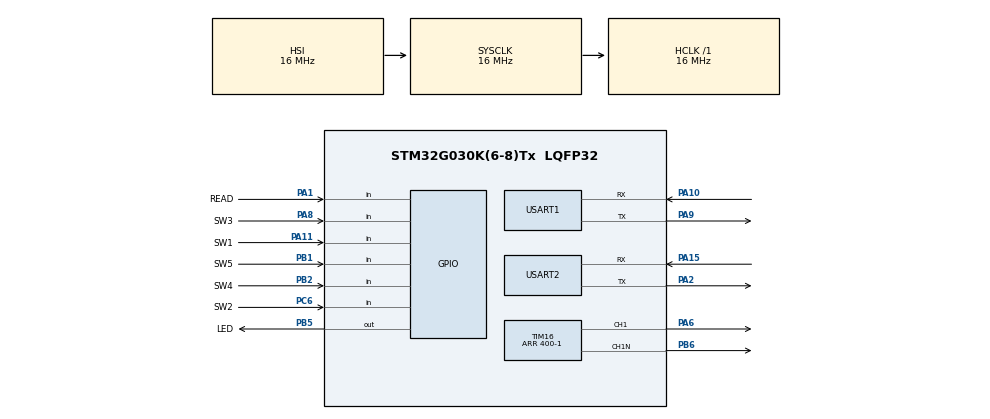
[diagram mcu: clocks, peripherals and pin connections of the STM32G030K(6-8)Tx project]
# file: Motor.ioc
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Dma.Request0=USART2_RX
Dma.USART2_RX.0.Direction=DMA_PERIPH_TO_MEMORY
Dma.USART2_RX.0.EventEnable=DISABLE
Dma.USART2_RX.0.Instance=DMA1_Channel1
Dma.USART2_RX.0.MemDataAlignment=DMA_MDATAALIGN_BYTE
Dma.USART2_RX.0.MemInc=DMA_MINC_ENABLE
Dma.USART2_RX.0.Mode=DMA_CIRCULAR
Dma.USART2_RX.0.PeriphDataAlignment=DMA_PDATAALIGN_BYTE
Dma.USART2_RX.0.PeriphInc=DMA_PINC_DISABLE
Dma.USART2_RX.0.Polarity=HAL_DMAMUX_REQ_GEN_RISING
Dma.USART2_RX.0.Priority=DMA_PRIORITY_VERY_HIGH
Dma.USART2_RX.0.RequestNumber=1
Dma.USART2_RX.0.SignalID=NONE
Dma.USART2_RX.0.SyncEnable=DISABLE
Dma.USART2_RX.0.SyncPolarity=HAL_DMAMUX_SYNC_NO_EVENT
Dma.USART2_RX.0.SyncRequestNumber=1
Dma.USART2_RX.0.SyncSignalID=NONE
Mcu.Family=STM32G0
Mcu.Name=STM32G030K(6-8)Tx
Mcu.Package=LQFP32
NVIC.DMA1_Channel1_IRQn=true\:0\:0\:false\:false\:true\:false\:true\:true
PA1.GPIO_Label=READ
PA1.Signal=GPIO_Input
PA10.Mode=Asynchronous
PA10.Signal=USART1_RX
PA11\ [PA9].GPIO_Label=SW1
PA11\ [PA9].Signal=GPIO_Input
PA13.Mode=Serial_Wire
PA13.Signal=SYS_SWDIO
PA14-BOOT0.Mode=Serial_Wire
PA14-BOOT0.Signal=SYS_SWCLK
PA15.Mode=Asynchronous
PA15.Signal=USART2_RX
PA2.Mode=Asynchronous
PA2.Signal=USART2_TX
PA6.Signal=S_TIM16_CH1
PA8.GPIO_Label=SW3
PA8.Signal=GPIO_Input
PA9.Mode=Asynchronous
PA9.Signal=USART1_TX
PB1.GPIO_Label=SW5
PB1.Signal=GPIO_Input
PB2.GPIO_Label=SW4
PB2.Signal=GPIO_Input
PB5.GPIO_Label=LED
PB5.Signal=GPIO_Output
PB6.Mode=PWM Generation1 CH1 CH1N
PB6.Signal=TIM16_CH1N
PC6.GPIO_Label=SW2
PC6.Signal=GPIO_Input
ProjectManager.HeapSize=0x200
ProjectManager.StackSize=0x400
ProjectManager.TargetToolchain=STM32CubeIDE
RCC.AHBFreq_Value=16000000
RCC.CortexFreq_Value=16000000
RCC.EXTERNAL_CLOCK_VALUE=12288000
RCC.HCLKFreq_Value=16000000
RCC.HSE_VALUE=8000000
RCC.HSI_VALUE=16000000
RCC.LSE_VALUE=32768
RCC.SYSCLKFreq_VALUE=16000000
RCC.VCOOutputFreq_Value=128000000
SH.S_TIM16_CH1.0=TIM16_CH1,PWM Generation1 CH1 CH1N
TIM16.Channel=TIM_CHANNEL_1
TIM16.Period=400-1
USART1.VirtualMode-Asynchronous=VM_ASYNC
USART2.VirtualMode-Asynchronous=VM_ASYNC
VP_TIM16_VS_ClockSourceINT.Mode=Enable_Timer
board=custom

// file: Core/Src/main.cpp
/* USER CODE BEGIN Header */
/**
  ******************************************************************************
  * @file           : main.c
  * @brief          : Main program body
  ******************************************************************************
  * @attention
  *
  * Copyright (c) 2024 STMicroelectronics.
  * All rights reserved.
  *
  * This software is licensed under terms that can be found in the LICENSE file
  * in the root directory of this software component.
  * If no LICENSE file comes with this software, it is provided AS-IS.
  *
  ******************************************************************************
  */
/* USER CODE END Header */
#include "main.h"

/* USER CODE BEGIN Includes */
#include "m_transmit.h"
#include "sdma_transmit.h"

/* USER CODE END Includes */

TIM_HandleTypeDef htim16;

UART_HandleTypeDef huart1;
UART_HandleTypeDef huart2;
DMA_HandleTypeDef hdma_usart2_rx;

/* USER CODE BEGIN PV */
M_TRANSMIT enc(&huart1,0);
int cur_speed;
int goal_speed;
uint8_t id;
float value = 199;
int output = 199;

/* USER CODE END PV */

void SystemClock_Config(void);
static void MX_GPIO_Init(void);
static void MX_DMA_Init(void);
static void MX_TIM16_Init(void);
static void MX_USART1_UART_Init(void);
static void MX_USART2_UART_Init(void);

/* USER CODE BEGIN 0 */
uint8_t readID(){
	uint8_t ID;
	if(HAL_GPIO_ReadPin(SW1_GPIO_Port, SW1_Pin)==1){ID=0;}
	else if(HAL_GPIO_ReadPin(SW2_GPIO_Port, SW2_Pin)==1){ID=1;}
	else if(HAL_GPIO_ReadPin(SW3_GPIO_Port, SW3_Pin)==1){ID=2;}
	else if(HAL_GPIO_ReadPin(SW4_GPIO_Port, SW4_Pin)==1){ID=3;}
	else if(HAL_GPIO_ReadPin(SW5_GPIO_Port, SW5_Pin)==1){ID=4;}
	else{ID=5;}
	return ID;
}

/* USER CODE END 0 */

int main(void)
{

  /* MCU Configuration--------------------------------------------------------*/

  /* Reset of all peripherals, Initializes the Flash interface and the Systick. */
  HAL_Init();

  /* Configure the system clock */
  SystemClock_Config();

  /* Initialize all configured peripherals */
  MX_GPIO_Init();
  MX_DMA_Init();
  MX_TIM16_Init();
  MX_USART1_UART_Init();
  MX_USART2_UART_Init();
  /* USER CODE BEGIN 2 */

  id = readID();
  SDMA_TRANSMIT fromMother(&huart2, id);
  fromMother.begin_dma();

  HAL_GPIO_WritePin(LED_GPIO_Port, LED_Pin, GPIO_PIN_SET);

  HAL_TIM_PWM_Start(&htim16, TIM_CHANNEL_1);
  HAL_TIMEx_PWMN_Start(&htim16, TIM_CHANNEL_1);

  __HAL_TIM_SET_COMPARE(&htim16, TIM_CHANNEL_1, 199);

  /* USER CODE END 2 */

  /* Infinite loop */
  while (1)
  {

    /* USER CODE BEGIN 3 */
    cur_speed = enc.get_speed();
    goal_speed = fromMother.check_buf();

    if(goal_speed<-4000 || goal_speed>4000){
		goal_speed = 0;
	}

    if(HAL_GPIO_ReadPin(READ_GPIO_Port, READ_Pin)==1){
      if(goal_speed>cur_speed){
    	  value += 0.1;
      }else if(goal_speed<cur_speed){
    	  value -= 0.1;
      }else{
      }
    }else{
      value = 199;
    }

    if(value>=399){value = 395;}
    else if(value<5){value = 0;}

    output = (int)value;
    output = 400 - output;

     __HAL_TIM_SET_COMPARE(&htim16, TIM_CHANNEL_1, output);

  }
  /* USER CODE END 3 */
}

void SystemClock_Config(void)
{
  RCC_OscInitTypeDef RCC_OscInitStruct = {0};
  RCC_ClkInitTypeDef RCC_ClkInitStruct = {0};

  /** Configure the main internal regulator output voltage
  */
  HAL_PWREx_ControlVoltageScaling(PWR_REGULATOR_VOLTAGE_SCALE1);

  /** Initializes the RCC Oscillators according to the specified parameters
  * in the RCC_OscInitTypeDef structure.
  */
  RCC_OscInitStruct.OscillatorType = RCC_OSCILLATORTYPE_HSI;
  RCC_OscInitStruct.HSIState = RCC_HSI_ON;
  RCC_OscInitStruct.HSIDiv = RCC_HSI_DIV1;
  RCC_OscInitStruct.HSICalibrationValue = RCC_HSICALIBRATION_DEFAULT;
  RCC_OscInitStruct.PLL.PLLState = RCC_PLL_NONE;
  if (HAL_RCC_OscConfig(&RCC_OscInitStruct) != HAL_OK)
  {
    Error_Handler();
  }

  /** Initializes the CPU, AHB and APB buses clocks
  */
  RCC_ClkInitStruct.ClockType = RCC_CLOCKTYPE_HCLK|RCC_CLOCKTYPE_SYSCLK
                              |RCC_CLOCKTYPE_PCLK1;
  RCC_ClkInitStruct.SYSCLKSource = RCC_SYSCLKSOURCE_HSI;
  RCC_ClkInitStruct.AHBCLKDivider = RCC_SYSCLK_DIV1;
  RCC_ClkInitStruct.APB1CLKDivider = RCC_HCLK_DIV1;

  if (HAL_RCC_ClockConfig(&RCC_ClkInitStruct, FLASH_LATENCY_0) != HAL_OK)
  {
    Error_Handler();
  }
}

static void MX_TIM16_Init(void)
{

  TIM_OC_InitTypeDef sConfigOC = {0};
  TIM_BreakDeadTimeConfigTypeDef sBreakDeadTimeConfig = {0};

  htim16.Instance = TIM16;
  htim16.Init.Prescaler = 0;
  htim16.Init.CounterMode = TIM_COUNTERMODE_UP;
  htim16.Init.Period = 400-1;
  htim16.Init.ClockDivision = TIM_CLOCKDIVISION_DIV1;
  htim16.Init.RepetitionCounter = 0;
  htim16.Init.AutoReloadPreload = TIM_AUTORELOAD_PRELOAD_DISABLE;
  if (HAL_TIM_Base_Init(&htim16) != HAL_OK)
  {
    Error_Handler();
  }
  if (HAL_TIM_PWM_Init(&htim16) != HAL_OK)
  {
    Error_Handler();
  }
  sConfigOC.OCMode = TIM_OCMODE_PWM1;
  sConfigOC.Pulse = 0;
  sConfigOC.OCPolarity = TIM_OCPOLARITY_HIGH;
  sConfigOC.OCNPolarity = TIM_OCNPOLARITY_HIGH;
  sConfigOC.OCFastMode = TIM_OCFAST_DISABLE;
  sConfigOC.OCIdleState = TIM_OCIDLESTATE_RESET;
  sConfigOC.OCNIdleState = TIM_OCNIDLESTATE_RESET;
  if (HAL_TIM_PWM_ConfigChannel(&htim16, &sConfigOC, TIM_CHANNEL_1) != HAL_OK)
  {
    Error_Handler();
  }
  sBreakDeadTimeConfig.OffStateRunMode = TIM_OSSR_DISABLE;
  sBreakDeadTimeConfig.OffStateIDLEMode = TIM_OSSI_DISABLE;
  sBreakDeadTimeConfig.LockLevel = TIM_LOCKLEVEL_OFF;
  sBreakDeadTimeConfig.DeadTime = 0;
  sBreakDeadTimeConfig.BreakState = TIM_BREAK_DISABLE;
  sBreakDeadTimeConfig.BreakPolarity = TIM_BREAKPOLARITY_HIGH;
  sBreakDeadTimeConfig.BreakFilter = 0;
  sBreakDeadTimeConfig.AutomaticOutput = TIM_AUTOMATICOUTPUT_DISABLE;
  if (HAL_TIMEx_ConfigBreakDeadTime(&htim16, &sBreakDeadTimeConfig) != HAL_OK)
  {
    Error_Handler();
  }
  HAL_TIM_MspPostInit(&htim16);

}

static void MX_USART1_UART_Init(void)
{

  huart1.Instance = USART1;
  huart1.Init.BaudRate = 115200;
  huart1.Init.WordLength = UART_WORDLENGTH_8B;
  huart1.Init.StopBits = UART_STOPBITS_1;
  huart1.Init.Parity = UART_PARITY_NONE;
  huart1.Init.Mode = UART_MODE_TX_RX;
  huart1.Init.HwFlowCtl = UART_HWCONTROL_NONE;
  huart1.Init.OverSampling = UART_OVERSAMPLING_16;
  huart1.Init.OneBitSampling = UART_ONE_BIT_SAMPLE_DISABLE;
  huart1.Init.ClockPrescaler = UART_PRESCALER_DIV1;
  huart1.AdvancedInit.AdvFeatureInit = UART_ADVFEATURE_NO_INIT;
  if (HAL_UART_Init(&huart1) != HAL_OK)
  {
    Error_Handler();
  }
  if (HAL_UARTEx_SetTxFifoThreshold(&huart1, UART_TXFIFO_THRESHOLD_1_8) != HAL_OK)
  {
    Error_Handler();
  }
  if (HAL_UARTEx_SetRxFifoThreshold(&huart1, UART_RXFIFO_THRESHOLD_1_8) != HAL_OK)
  {
    Error_Handler();
  }
  if (HAL_UARTEx_DisableFifoMode(&huart1) != HAL_OK)
  {
    Error_Handler();
  }

}

static void MX_USART2_UART_Init(void)
{

  huart2.Instance = USART2;
  huart2.Init.BaudRate = 115200;
  huart2.Init.WordLength = UART_WORDLENGTH_8B;
  huart2.Init.StopBits = UART_STOPBITS_1;
  huart2.Init.Parity = UART_PARITY_NONE;
  huart2.Init.Mode = UART_MODE_TX_RX;
  huart2.Init.HwFlowCtl = UART_HWCONTROL_NONE;
  huart2.Init.OverSampling = UART_OVERSAMPLING_16;
  huart2.Init.OneBitSampling = UART_ONE_BIT_SAMPLE_DISABLE;
  huart2.Init.ClockPrescaler = UART_PRESCALER_DIV1;
  huart2.AdvancedInit.AdvFeatureInit = UART_ADVFEATURE_NO_INIT;
  if (HAL_UART_Init(&huart2) != HAL_OK)
  {
    Error_Handler();
  }

}

static void MX_DMA_Init(void)
{

  /* DMA controller clock enable */
  __HAL_RCC_DMA1_CLK_ENABLE();

  /* DMA interrupt init */
  /* DMA1_Channel1_IRQn interrupt configuration */
  HAL_NVIC_SetPriority(DMA1_Channel1_IRQn, 0, 0);
  HAL_NVIC_EnableIRQ(DMA1_Channel1_IRQn);

}

static void MX_GPIO_Init(void)
{
  GPIO_InitTypeDef GPIO_InitStruct = {0};

  /* GPIO Ports Clock Enable */
  __HAL_RCC_GPIOA_CLK_ENABLE();
  __HAL_RCC_GPIOB_CLK_ENABLE();
  __HAL_RCC_GPIOC_CLK_ENABLE();

  /*Configure GPIO pin Output Level */
  HAL_GPIO_WritePin(LED_GPIO_Port, LED_Pin, GPIO_PIN_RESET);

  /*Configure GPIO pins : READ_Pin SW3_Pin SW1_Pin */
  GPIO_InitStruct.Pin = READ_Pin|SW3_Pin|SW1_Pin;
  GPIO_InitStruct.Mode = GPIO_MODE_INPUT;
  GPIO_InitStruct.Pull = GPIO_NOPULL;
  HAL_GPIO_Init(GPIOA, &GPIO_InitStruct);

  /*Configure GPIO pins : SW5_Pin SW4_Pin */
  GPIO_InitStruct.Pin = SW5_Pin|SW4_Pin;
  GPIO_InitStruct.Mode = GPIO_MODE_INPUT;
  GPIO_InitStruct.Pull = GPIO_NOPULL;
  HAL_GPIO_Init(GPIOB, &GPIO_InitStruct);

  /*Configure GPIO pin : SW2_Pin */
  GPIO_InitStruct.Pin = SW2_Pin;
  GPIO_InitStruct.Mode = GPIO_MODE_INPUT;
  GPIO_InitStruct.Pull = GPIO_NOPULL;
  HAL_GPIO_Init(SW2_GPIO_Port, &GPIO_InitStruct);

  /*Configure GPIO pin : LED_Pin */
  GPIO_InitStruct.Pin = LED_Pin;
  GPIO_InitStruct.Mode = GPIO_MODE_OUTPUT_PP;
  GPIO_InitStruct.Pull = GPIO_NOPULL;
  GPIO_InitStruct.Speed = GPIO_SPEED_FREQ_LOW;
  HAL_GPIO_Init(LED_GPIO_Port, &GPIO_InitStruct);

}

void Error_Handler(void)
{
  __disable_irq();
  while (1)
  {
  }
}
